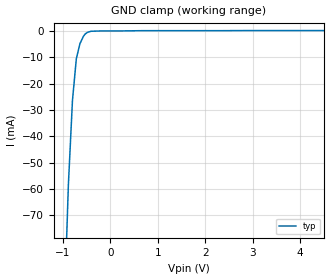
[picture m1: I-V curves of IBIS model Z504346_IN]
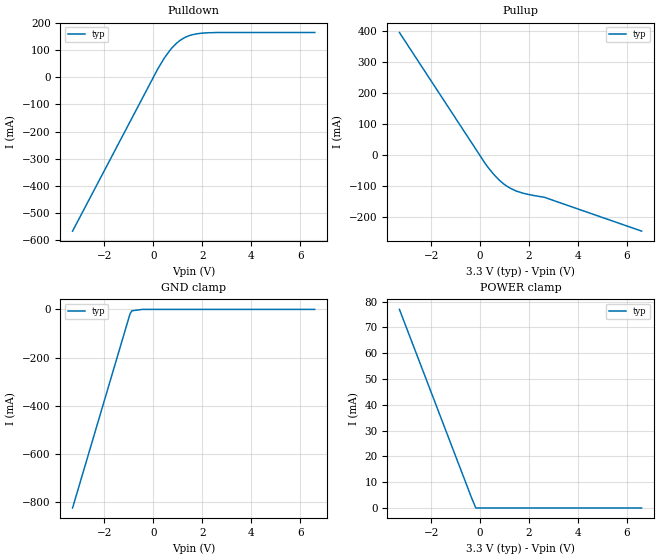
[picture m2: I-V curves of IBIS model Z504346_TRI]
| YOU ARE ONLY AUTHORIZED TO USE THIS SOFTWARE
| ACCORDING TO LICENSOR'S LICENSE RESTRICTIONS.
[IBIS Ver] 3.1
[File Name] mc74lcx374dw.ibs
[File Rev] 2.0
[Source] Measured and created by ICX Technology
[Date] Friday 7/14/00 9:08:12 AM
[Copyright]
| (C) COPYRIGHT 1993-2000
| MENTOR GRAPHICS CORPORATION
| ICX STANDARD LIBRARY, ICX PROJECT MODELING,
| ICX CUSTOM MODELING, ICX VENDOR MODEL
| ALL RIGHTS RESERVED.
| THE FOLLOWING ARE TRADEMARKS OR SERVICE MARKS OF
| MENTOR GRAPHICS CORPORATION:ICX (R), ICX STANDARD
| LIBRARY(R), ICX PROJECT MODELING(R), ICX CUSTOM
| MODELING(R), qualityIBIS(TM), MODELVIEWER(TM),
| AND MODELEDITOR(TM)
| ALL COPIES OF SOFTWARE, INCLUDING BUT NOT LIMITED TO
| ANY MODIFICATIONS, ENHANCEMENTS OR DERIVATIVE WORKS,
| MUST CONTAIN ALL MENTOR GRAPHICS CORPORATION'S
| NOTICES AND LEGENDS, INCLUDING THOSE EMBEDDED IN
| SOFTWARE AND THOSE AFFIXED TO SOFTWARE MEDIUM
| AND CONTAINER, AS RECEIVED FROM MENTOR GRAPHICS
| CORPORATION.
|  ZAP Model Builder 2.7
[Component] MC74LCX374DW
[Manufacturer] OnSemiconductor
[Package]
| variable   typ   min   max
R_pkg  .178ohms NA NA
L_pkg  4.43nH NA NA
C_pkg  .62pF NA NA
[Pin] signal_name  model_name  R_pin  L_pin C_pin
1 _G Z504346_IN .186 5.37n .68p
2 Q0 Z504346_TRI .182 4.89n .65p
3 D0 Z504346_IN .178 4.42n .62p
4 D1 Z504346_IN .174 3.96n .59p
5 Q1 Z504346_TRI .17 3.51n .56p
6 Q2 Z504346_TRI .17 3.51n .56p
7 D2 Z504346_IN .174 3.96n .59p
8 D3 Z504346_IN .178 4.42n .62p
9 Q3 Z504346_TRI .182 4.89n .65p
10 GROUND GND .186 5.37n .68p
11 CLK Z504346_IN .186 5.37n .68p
12 Q4 Z504346_TRI .182 4.89n .65p
13 D4 Z504346_IN .178 4.42n .62p
14 D5 Z504346_IN .174 3.96n .59p
15 Q5 Z504346_TRI .17 3.51n .56p
16 Q6 Z504346_TRI .17 3.51n .56p
17 D6 Z504346_IN .174 3.96n .59p
18 D7 Z504346_IN .178 4.42n .62p
19 Q7 Z504346_TRI .182 4.89n .65p
20 VCC POWER .186 5.37n .68p
| Models and submodels in the file (2): Z504346_IN (Input), Z504346_TRI (3-state)
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| (C) COPYRIGHT 1993-2000
| MENTOR GRAPHICS CORPORATION
| ICX STANDARD LIBRARY, ICX PROJECT MODELING,
| ICX CUSTOM MODELING, ICX VENDOR MODEL
| ALL RIGHTS RESERVED.
| THE FOLLOWING ARE TRADEMARKS OR SERVICE MARKS OF
| MENTOR GRAPHICS CORPORATION:ICX (R), ICX STANDARD
| LIBRARY(R), ICX PROJECT MODELING(R), ICX CUSTOM
| MODELING(R), qualityIBIS(TM), MODELVIEWER(TM),
| AND MODELEDITOR(TM)
| ALL COPIES OF SOFTWARE, INCLUDING BUT NOT LIMITED TO
| ANY MODIFICATIONS, ENHANCEMENTS OR DERIVATIVE WORKS,
| MUST CONTAIN ALL MENTOR GRAPHICS CORPORATION'S
| NOTICES AND LEGENDS, INCLUDING THOSE EMBEDDED IN
| SOFTWARE AND THOSE AFFIXED TO SOFTWARE MEDIUM
| AND CONTAINER, AS RECEIVED FROM MENTOR GRAPHICS
| CORPORATION.
| Model Application Version 1.89 2/18/99.
[Model] Z504346_IN
Model_type Input
Vinl = 800.0mV
Vinh = 2.000V
C_comp 4.000pF NA NA
| variable typ   min   max
[Voltage Range] 3.300V NA NA
[GND Clamp Reference] 0.000V NA NA
[POWER Clamp Reference] 3.300V NA NA
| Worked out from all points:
|   GND clamp passes 1 mA (typ) near -0.53 V on its own axis
[GND Clamp]
-3.3V     -1.387A    NA         NA
-886.4mV  -58.32mA   NA         NA
-800.7mV  -26.39mA   NA         NA
-719mV    -10.51mA   NA         NA
-643.1mV  -4.789mA   NA         NA
-567.1mV  -1.899mA   NA         NA
-488mV    -508.8uA   NA         NA
-410.2mV  -57.03uA   NA         NA
687.8mV   169.2uA    NA         NA
6.6V      210.5uA    NA         NA
[POWER Clamp]
-3.3V     0A         NA         NA
6.6V      0A         NA         NA
| (C) COPYRIGHT 1993-2000
| MENTOR GRAPHICS CORPORATION
| ICX STANDARD LIBRARY, ICX PROJECT MODELING,
| ICX CUSTOM MODELING, ICX VENDOR MODEL
| ALL RIGHTS RESERVED.
| THE FOLLOWING ARE TRADEMARKS OR SERVICE MARKS OF
| MENTOR GRAPHICS CORPORATION:ICX (R), ICX STANDARD
| LIBRARY(R), ICX PROJECT MODELING(R), ICX CUSTOM
| MODELING(R), qualityIBIS(TM), MODELVIEWER(TM),
| AND MODELEDITOR(TM)
| ALL COPIES OF SOFTWARE, INCLUDING BUT NOT LIMITED TO
| ANY MODIFICATIONS, ENHANCEMENTS OR DERIVATIVE WORKS,
| MUST CONTAIN ALL MENTOR GRAPHICS CORPORATION'S
| NOTICES AND LEGENDS, INCLUDING THOSE EMBEDDED IN
| SOFTWARE AND THOSE AFFIXED TO SOFTWARE MEDIUM
| AND CONTAINER, AS RECEIVED FROM MENTOR GRAPHICS
| CORPORATION.
| Model Application Version 1.89 2/18/99.
[Model] Z504346_TRI
Model_type 3-state
Vref=0.000V
Rref=500.0ohms
Cref=50.00pF
Vmeas=1.500V
C_comp 8.000pF NA NA
| variable typ   min   max
[Voltage Range] 3.300V NA NA
[POWER Clamp Reference] 3.300V NA NA
[Pullup Reference] 3.300V NA NA
[Pulldown Reference] 0.000V NA NA
[GND Clamp Reference] 0.000V NA NA
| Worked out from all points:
|   slope of the pulldown table from 0 to 0.495 V, typ, clamps not added: 6.43 ohm
|   slope of the pullup table from 0 to 0.495 V, typ, clamps not added: 9.12 ohm
|   POWER clamp passes 1 mA (typ) near -0.22 V on its own axis
[GND Clamp]
-3.3V     -822.9mA   NA         NA
-952.1mV  -18.72mA   NA         NA
-878.8mV  -5.801mA   NA         NA
-439.4mV  0A         NA         NA
6.6V      0A         NA         NA
[Pulldown]
-3.3V     -566.9mA   NA         NA
176mV     29.47mA    NA         NA
449.2mV   70.61mA    NA         NA
714.6mV   103.3mA    NA         NA
1.082V    135mA      NA         NA
1.461V    153mA      NA         NA
2.07V     163mA      NA         NA
6.6V      164.8mA    NA         NA
[Pullup]
-3.3V     395mA      NA         NA
204mV     -28.02mA   NA         NA
547mV     -62.69mA   NA         NA
971mV     -94.77mA   NA         NA
1.469V    -117mA     NA         NA
1.937V    -127.7mA   NA         NA
2.63V     -137.6mA   NA         NA
6.6V      -246.7mA   NA         NA
[POWER Clamp]
-3.3V     77mA       NA         NA
-355mV    4.029mA    NA         NA
-177.5mV  0A         NA         NA
6.6V      0A         NA         NA
[Ramp]
| variable typ min max
dV/dt_r 1.962/459.3p NA NA
dV/dt_f 1.962/1.764n NA NA
R_load = 500.0Ohms
